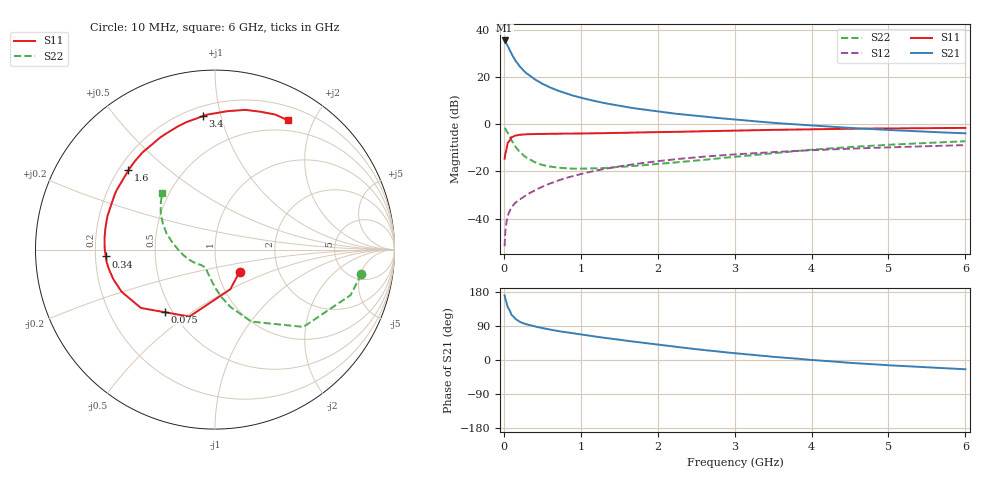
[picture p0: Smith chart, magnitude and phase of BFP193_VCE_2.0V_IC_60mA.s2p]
! Infineon Technologies  Discrete & RF Semiconductors
! BFP193
! VCE = 2.0 V,  IC =  60 mA
! Common Emitter S-Parameters:  Jan 2016
# GHz  S  MA  R  50
!  f  S11  S21  S12  S22
! GHz  MAG  ANG  MAG  ANG  MAG  ANG  MAG  ANG
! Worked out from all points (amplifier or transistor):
!   210 points, 10 MHz to 6 GHz, reference 50 ohm
!   highest |S21| = 35.4 dB at 10 MHz (marker M1)
!   |S21| within 3 dB of that: start of sweep to 60.87 MHz
!   unconditionally stable (mu >= 1): 381.1 MHz to 4.265 GHz
!   at 185 MHz: K = 0.78, MSG = 28.9 dB, |S12| = -32.5 dB
!   at 1.52 GHz: K = 1.10, MAG = 10.8 dB, |S12| = -17.8 dB
!   at 6 GHz: K = 0.97, MSG = 2.5 dB, |S12| = -8.9 dB
!   S11 on the Smith chart (normalised r, x): 10 MHz: 1.27, -0.32; 75 MHz: 0.46, -0.40; 340 MHz: 0.24, -0.03; 1.6 GHz: 0.24, +0.37; 3.4 GHz: 0.26, +0.88; 6 GHz: 0.36, +1.65
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0.01  0.1845 -41.8  58.76 170.5  0.0026 78.8  0.8274 -9.5
0.02  0.237 -68.9  55.62 160.5  0.0054 73.0  0.7966 -18.6
0.05  0.3995 -110.9  45.15 139.3  0.0114 64.5  0.6542 -41.2
0.075  0.446 -128.4  37.22 131.1  0.0143 59.6  0.5419 -50.1
0.1  0.5251 -141.7  30.42 119.0  0.0173 56.3  0.4492 -63.2
0.15  0.5708 -155.6  22.03 108.2  0.0216 56.3  0.3313 -74.9
0.2  0.5901 -163.8  17.13 101.6  0.0247 57.4  0.2647 -82.6
0.24  0.5986 -168.5  14.49 98.1  0.0275 58.9  0.2283 -87.2
0.3  0.6078 -173.6  11.67 93.7  0.0319 61.1  0.1927 -93.0
0.34  0.6095 -176.4  10.54 92.0  0.0349 62.3  0.1778 -95.6
0.4  0.6146 179.5  8.872 88.5  0.0393 63.7  0.1562 -100.5
0.5  0.6185 174.7  7.109 84.2  0.047 65.1  0.1362 -106.5
0.6  0.6215 170.2  5.955 80.2  0.055 65.7  0.1257 -111.4
0.8  0.6276 162.6  4.487 73.4  0.0714 65.4  0.1159 -119.3
1.02  0.6319 155.0  3.54 66.7  0.0889 64.1  0.1136 -126.3
1.6  0.6546 137.5  2.28 50.7  0.1343 57.8  0.1265 -141.9
2.02  0.6762 126.1  1.829 40.2  0.1651 52.2  0.1439 -153.1
3.1  0.7311 100.9  1.204 16.1  0.233 37.6  0.2091 178.8
3.4  0.7464 95.2  1.095 10.5  0.2493 33.8  0.2326 172.4
4.1  0.7778 83.4  0.909 -1.3  0.2842 25.2  0.294 159.4
5.1  0.8114 70.4  0.737 -14.9  0.3244 13.8  0.3704 144.7
6  0.8269 60.6  0.637 -24.4  0.358 4.0  0.4319 133.1
